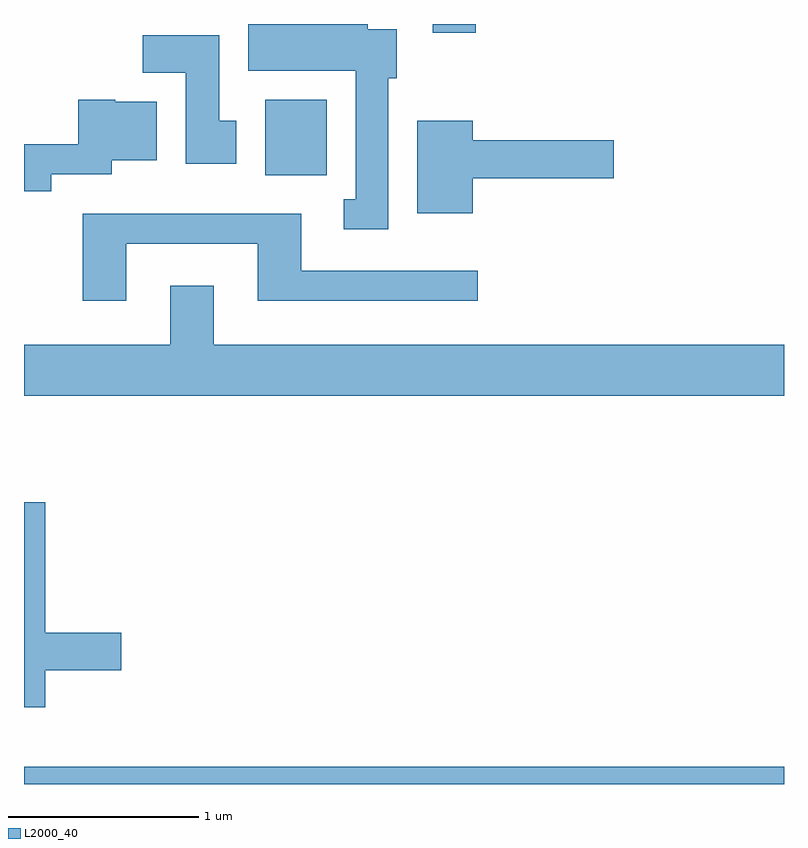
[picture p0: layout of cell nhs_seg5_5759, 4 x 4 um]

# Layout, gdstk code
import gdstk
lib = gdstk.Library(unit=1e-6, precision=1e-09)
def R(c, l, rs):  # rectangles x0, y0, x1, y1
    for r in rs: c.add(gdstk.rectangle(r[:2], r[2:], *l))
def P(c, l, *ps):  # polygons
    for p in ps: c.add(gdstk.Polygon(p, *l))
L2000_40 = (2000, 40)

nhs_seg5_5759 = lib.new_cell('nhs_seg5_5759')
R(nhs_seg5_5759, L2000_40, [(355.611,1468.072,359.611,1468.164), (356.881,1471.276,357.204,1471.674), (357.761,1472.026,357.989,1472.072)])
P(nhs_seg5_5759, L2000_40, [(357.529,1471.786),(357.574,1471.786),(357.574,1472.044),(357.419,1472.044),(357.419,1472.072),(356.791,1472.072),(356.791,1471.826),(357.356,1471.826),(357.356,1471.149),(357.293,1471.149),(357.293,1470.991),(357.529,1470.991)],
  [(356.729,1471.564),(356.639,1471.564),(356.639,1472.014),(356.236,1472.014),(356.236,1471.816),(356.461,1471.816),(356.461,1471.336),(356.729,1471.336)],
  [(355.754,1471.281),(356.074,1471.281),(356.074,1471.356),(356.309,1471.356),(356.309,1471.664),(356.09,1471.664),(356.09,1471.674),(355.896,1471.674),(355.896,1471.439),(355.611,1471.439),(355.611,1471.191),(355.754,1471.191)],
  [(357.974,1471.261),(358.714,1471.261),(358.714,1471.459),(357.974,1471.459),(357.974,1471.564),(357.681,1471.564),(357.681,1471.076),(357.974,1471.076)],
  [(356.149,1470.916),(356.841,1470.916),(356.841,1470.616),(357.998,1470.616),(357.998,1470.774),(357.069,1470.774),(357.069,1471.074),(355.921,1471.074),(355.921,1470.616),(356.149,1470.616)],
  [(359.611,1470.384),(356.609,1470.384),(356.609,1470.694),(356.381,1470.694),(356.381,1470.384),(355.611,1470.384),(355.611,1470.116),(359.611,1470.116)],
  [(355.724,1468.671),(356.124,1468.671),(356.124,1468.869),(355.724,1468.869),(355.724,1469.554),(355.611,1469.554),(355.611,1468.476),(355.724,1468.476)])

lib.write_gds('nhs_seg5_5759.gds')
